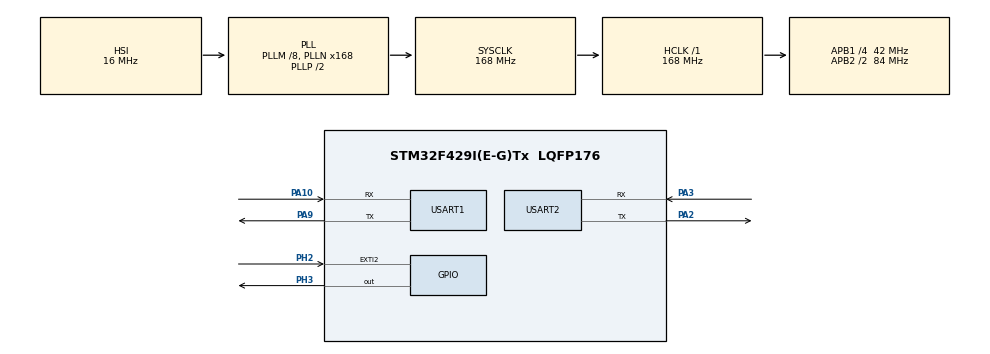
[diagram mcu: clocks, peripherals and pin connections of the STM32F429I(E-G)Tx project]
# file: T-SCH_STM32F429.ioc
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Dma.Request0=USART1_RX
Dma.Request1=USART1_TX
Dma.Request2=USART2_RX
Dma.Request3=USART2_TX
Dma.USART1_RX.0.Direction=DMA_PERIPH_TO_MEMORY
Dma.USART1_RX.0.FIFOMode=DMA_FIFOMODE_DISABLE
Dma.USART1_RX.0.Instance=DMA2_Stream2
Dma.USART1_RX.0.MemDataAlignment=DMA_MDATAALIGN_BYTE
Dma.USART1_RX.0.MemInc=DMA_MINC_ENABLE
Dma.USART1_RX.0.Mode=DMA_NORMAL
Dma.USART1_RX.0.PeriphDataAlignment=DMA_PDATAALIGN_BYTE
Dma.USART1_RX.0.PeriphInc=DMA_PINC_DISABLE
Dma.USART1_RX.0.Priority=DMA_PRIORITY_LOW
Dma.USART1_TX.1.Direction=DMA_MEMORY_TO_PERIPH
Dma.USART1_TX.1.FIFOMode=DMA_FIFOMODE_DISABLE
Dma.USART1_TX.1.Instance=DMA2_Stream7
Dma.USART1_TX.1.MemDataAlignment=DMA_MDATAALIGN_BYTE
Dma.USART1_TX.1.MemInc=DMA_MINC_ENABLE
Dma.USART1_TX.1.Mode=DMA_NORMAL
Dma.USART1_TX.1.PeriphDataAlignment=DMA_PDATAALIGN_BYTE
Dma.USART1_TX.1.PeriphInc=DMA_PINC_DISABLE
Dma.USART1_TX.1.Priority=DMA_PRIORITY_LOW
Dma.USART2_RX.2.Direction=DMA_PERIPH_TO_MEMORY
Dma.USART2_RX.2.FIFOMode=DMA_FIFOMODE_DISABLE
Dma.USART2_RX.2.Instance=DMA1_Stream5
Dma.USART2_RX.2.MemDataAlignment=DMA_MDATAALIGN_BYTE
Dma.USART2_RX.2.MemInc=DMA_MINC_ENABLE
Dma.USART2_RX.2.Mode=DMA_NORMAL
Dma.USART2_RX.2.PeriphDataAlignment=DMA_PDATAALIGN_BYTE
Dma.USART2_RX.2.PeriphInc=DMA_PINC_DISABLE
Dma.USART2_RX.2.Priority=DMA_PRIORITY_LOW
Dma.USART2_TX.3.Direction=DMA_MEMORY_TO_PERIPH
Dma.USART2_TX.3.FIFOMode=DMA_FIFOMODE_DISABLE
Dma.USART2_TX.3.Instance=DMA1_Stream6
Dma.USART2_TX.3.MemDataAlignment=DMA_MDATAALIGN_BYTE
Dma.USART2_TX.3.MemInc=DMA_MINC_ENABLE
Dma.USART2_TX.3.Mode=DMA_NORMAL
Dma.USART2_TX.3.PeriphDataAlignment=DMA_PDATAALIGN_BYTE
Dma.USART2_TX.3.PeriphInc=DMA_PINC_DISABLE
Dma.USART2_TX.3.Priority=DMA_PRIORITY_LOW
Mcu.Family=STM32F4
Mcu.Name=STM32F429I(E-G)Tx
Mcu.Package=LQFP176
NVIC.DMA1_Stream5_IRQn=true\:1\:0\:true\:false\:true\:false\:true
NVIC.DMA1_Stream6_IRQn=true\:1\:0\:true\:false\:true\:false\:true
NVIC.DMA2_Stream2_IRQn=true\:1\:0\:true\:false\:true\:false\:true
NVIC.DMA2_Stream7_IRQn=true\:1\:0\:true\:false\:true\:false\:true
NVIC.EXTI2_IRQn=true\:1\:0\:true\:false\:true\:true\:true
NVIC.PriorityGroup=NVIC_PRIORITYGROUP_4
NVIC.TIM1_TRG_COM_TIM11_IRQn=true\:14\:0\:true\:false\:true\:true\:true
NVIC.TIM6_DAC_IRQn=true\:10\:0\:true\:false\:true\:true\:true
NVIC.TIM7_IRQn=true\:11\:0\:true\:false\:true\:true\:true
NVIC.TIM8_UP_TIM13_IRQn=true\:1\:0\:true\:false\:true\:true\:true
NVIC.USART1_IRQn=true\:1\:0\:true\:false\:true\:true\:true
NVIC.USART2_IRQn=true\:11\:0\:true\:false\:true\:true\:true
PA10.Mode=Asynchronous
PA10.Signal=USART1_RX
PA13.Mode=Serial_Wire
PA13.Signal=SYS_JTMS-SWDIO
PA14.Mode=Serial_Wire
PA14.Signal=SYS_JTCK-SWCLK
PA2.Mode=Asynchronous
PA2.Signal=USART2_TX
PA3.Mode=Asynchronous
PA3.Signal=USART2_RX
PA9.Mode=Asynchronous
PA9.Signal=USART1_TX
PC14/OSC32_IN.Mode=LSE-External-Oscillator
PC14/OSC32_IN.Signal=RCC_OSC32_IN
PC15/OSC32_OUT.Mode=LSE-External-Oscillator
PC15/OSC32_OUT.Signal=RCC_OSC32_OUT
PH0/OSC_IN.Mode=HSE-External-Oscillator
PH0/OSC_IN.Signal=RCC_OSC_IN
PH1/OSC_OUT.Mode=HSE-External-Oscillator
PH1/OSC_OUT.Signal=RCC_OSC_OUT
PH2.GPIO_PuPd=GPIO_PULLDOWN
PH2.Signal=GPXTI2
PH3.Signal=GPIO_Output
ProjectManager.HeapSize=0x200
ProjectManager.StackSize=0x400
ProjectManager.TargetToolchain=MDK-ARM V5.32
RCC.48MHZClocksFreq_Value=84000000
RCC.AHBFreq_Value=168000000
RCC.APB1CLKDivider=RCC_HCLK_DIV4
RCC.APB1Freq_Value=42000000
RCC.APB1TimFreq_Value=84000000
RCC.APB2CLKDivider=RCC_HCLK_DIV2
RCC.APB2Freq_Value=84000000
RCC.APB2TimFreq_Value=168000000
RCC.CortexFreq_Value=168000000
RCC.HCLKFreq_Value=168000000
RCC.HSE_VALUE=25000000
RCC.HSI_VALUE=16000000
RCC.PLLM=8
RCC.PLLN=168
RCC.SYSCLKFreq_VALUE=168000000
RCC.SYSCLKSource=RCC_SYSCLKSOURCE_PLLCLK
RCC.VCOOutputFreq_Value=336000000
TIM11.Period=1000-1
TIM11.Prescaler=16800-1
TIM13.Period=1000
TIM13.Prescaler=16800
TIM6.Period=2000-1
TIM6.Prescaler=16800-1
TIM7.Period=2000-1
TIM7.Prescaler=16800-1
USART1.VirtualMode=VM_ASYNC
USART2.VirtualMode=VM_ASYNC
VP_TIM11_VS_ClockSourceINT.Mode=Enable_Timer
VP_TIM13_VS_ClockSourceINT.Mode=Enable_Timer
VP_TIM6_VS_ClockSourceINT.Mode=Enable_Timer
VP_TIM7_VS_ClockSourceINT.Mode=Enable_Timer
board=custom

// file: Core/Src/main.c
/* USER CODE BEGIN Header */
/**
  ******************************************************************************
  * @file           : main.c
  * @brief          : Main program body
  ******************************************************************************
  * @attention
  *
  * Copyright (c) 2022 STMicroelectronics.
  * All rights reserved.
  *
  * This software is licensed under terms that can be found in the LICENSE file
  * in the root directory of this software component.
  * If no LICENSE file comes with this software, it is provided AS-IS.
  *
  ******************************************************************************
  */
/* USER CODE END Header */
#include "main.h"
#include "dma.h"
#include "tim.h"
#include "usart.h"
#include "gpio.h"

/* USER CODE BEGIN Includes */
#include "tsch_port.h"
#include "turtle_task.h"
/* USER CODE END Includes */

/* USER CODE BEGIN PD */
#define  HIGH_MSG_LEN   100u
#define  LOW_MSG_LEN    100u
/* USER CODE END PD */

/* USER CODE BEGIN PV */
TScheduler_Type   Tim6_Sch;
TSchTask_Type     EH_Tim6Task1;
TSchTList_Type    Tim6_List[USR_SCH_LIST_MAX];

TScheduler_Type   Tim7_Sch;
TSchTask_Type     H_Tim7Task1;
TSchTask_Type     H_Tim7Task2;
TSchTask_Type     M_Tim7Task3;
TSchTask_Type     M_Tim7Task4;
TSchTList_Type    Tim7_List[USR_SCH_LIST_MAX];

TScheduler_Type   Tim11_Sch;
TSchTask_Type     EL_Tim11Task1;

TScheduler_Type   Uart_Sch;
TSchTask_Type     H_UartTask;

TScheduler_Type   Msg_Sch;
TSchTask_Type     H_MsgTask1;
TSchMsg_Type      High_Msg;
TSchMsgEle_Type   High_MsgBuf[HIGH_MSG_LEN];
TSchTask_Type     L_MsgTask2;
TSchMsg_Type      Low_Msg;
TSchMsgEle_Type   Low_MsgBuf[LOW_MSG_LEN];

TScheduler_Type   Syn_Sch;
TSchTask_Type     EH_SynTask;

uint8_t           uart_test[1];

/* USER CODE END PV */

void SystemClock_Config(void);

/* USER CODE BEGIN 0 */

void Creat_Task(void)
{
  TSch_SchCreat(&Tim6_Sch, TIM_SCH, Tim6_List);
  TSch_TaskCreat(&Tim6_Sch, &EH_Tim6Task1, Tim6Task1_Func, 50, 10, MSG_NULL, NULL);

  TSch_SchCreat(&Tim7_Sch, TIM_SCH, Tim7_List);
  TSch_TaskCreat(&Tim7_Sch, &H_Tim7Task1, Tim7Task1_Func, 100, 11, MSG_NULL, NULL);
  TSch_TaskCreat(&Tim7_Sch, &H_Tim7Task2, Tim7Task2_Func, 200, 11, MSG_NULL, NULL);
  TSch_TaskCreat(&Tim7_Sch, &M_Tim7Task3, Tim7Task3_Func, 100, 12, MSG_NULL, NULL);
  TSch_TaskCreat(&Tim7_Sch, &M_Tim7Task4, Tim7Task4_Func, 200, 12, MSG_NULL, NULL);

  TSch_SchCreat(&Tim11_Sch, ADT_TIM_SCH, NULL);
  TSch_TaskCreat(&Tim11_Sch, &EL_Tim11Task1, Tim11Task1_Func, 1000, 14, MSG_NULL, NULL);

  TSch_SchCreat(&Uart_Sch, EXT_SCH, NULL);
  TSch_TaskCreat(&Uart_Sch, &H_UartTask, UartTask_Func, 0, 11, MSG_NULL, NULL);

  TSch_MsgCreat(&High_Msg, MSG_STACK, High_MsgBuf, HIGH_MSG_LEN);
  TSch_MsgCreat(&Low_Msg, MSG_QUEUE, Low_MsgBuf, LOW_MSG_LEN);
  TSch_SchCreat(&Msg_Sch, MSG_SCH, NULL);
  TSch_TaskCreat(&Msg_Sch, &H_MsgTask1, MsgTask1_Func, 0, 11, &High_Msg, MsgTask_Weak);
  TSch_TaskCreat(&Msg_Sch, &L_MsgTask2, MsgTask2_Func, 0, 13, &Low_Msg, MsgTask_Weak);

  TSch_SchCreat(&Syn_Sch, SYN_SCH, NULL);
  TSch_TaskCreat(&Syn_Sch, &EH_SynTask, SynTask_Func, 0, 10, NULL, SynTask_Weak);
}

/* USER CODE END 0 */

int main(void)
{

  /* MCU Configuration--------------------------------------------------------*/

  /* Reset of all peripherals, Initializes the Flash interface and the Systick. */
  HAL_Init();

  /* Configure the system clock */
  SystemClock_Config();

  /* USER CODE BEGIN SysInit */
  SoftExti_WeakInit();
  /* USER CODE END SysInit */

  /* Initialize all configured peripherals */
  MX_GPIO_Init();
  MX_DMA_Init();
  MX_TIM6_Init();
  MX_TIM7_Init();
  MX_TIM11_Init();
  MX_USART1_UART_Init();
  MX_TIM13_Init();
  MX_USART2_UART_Init();
  /* USER CODE BEGIN 2 */
  EventRecorderInitialize(EventRecordAll, 1U);
  EventRecorderStart();
  Creat_Task();
  HAL_TIM_Base_Start_IT(&htim6);
  HAL_TIM_Base_Start_IT(&htim7);
  HAL_TIM_Base_Start_IT(&htim11);
  HAL_TIM_Base_Start_IT(&htim13);
  HAL_UART_Receive_DMA(&huart2, uart_test, 1);
	TSch_Start();
  /* USER CODE END 2 */

  /* Infinite loop */
  while (1)
  {

  }
}

void SystemClock_Config(void)
{
  RCC_OscInitTypeDef RCC_OscInitStruct = {0};
  RCC_ClkInitTypeDef RCC_ClkInitStruct = {0};

  /** Configure the main internal regulator output voltage
  */
  __HAL_RCC_PWR_CLK_ENABLE();
  __HAL_PWR_VOLTAGESCALING_CONFIG(PWR_REGULATOR_VOLTAGE_SCALE1);
  /** Initializes the RCC Oscillators according to the specified parameters
  * in the RCC_OscInitTypeDef structure.
  */
  RCC_OscInitStruct.OscillatorType = RCC_OSCILLATORTYPE_HSI;
  RCC_OscInitStruct.HSIState = RCC_HSI_ON;
  RCC_OscInitStruct.HSICalibrationValue = RCC_HSICALIBRATION_DEFAULT;
  RCC_OscInitStruct.PLL.PLLState = RCC_PLL_ON;
  RCC_OscInitStruct.PLL.PLLSource = RCC_PLLSOURCE_HSI;
  RCC_OscInitStruct.PLL.PLLM = 8;
  RCC_OscInitStruct.PLL.PLLN = 168;
  RCC_OscInitStruct.PLL.PLLP = RCC_PLLP_DIV2;
  RCC_OscInitStruct.PLL.PLLQ = 4;
  if (HAL_RCC_OscConfig(&RCC_OscInitStruct) != HAL_OK)
  {
    Error_Handler();
  }
  /** Initializes the CPU, AHB and APB buses clocks
  */
  RCC_ClkInitStruct.ClockType = RCC_CLOCKTYPE_HCLK|RCC_CLOCKTYPE_SYSCLK
                              |RCC_CLOCKTYPE_PCLK1|RCC_CLOCKTYPE_PCLK2;
  RCC_ClkInitStruct.SYSCLKSource = RCC_SYSCLKSOURCE_PLLCLK;
  RCC_ClkInitStruct.AHBCLKDivider = RCC_SYSCLK_DIV1;
  RCC_ClkInitStruct.APB1CLKDivider = RCC_HCLK_DIV4;
  RCC_ClkInitStruct.APB2CLKDivider = RCC_HCLK_DIV2;

  if (HAL_RCC_ClockConfig(&RCC_ClkInitStruct, FLASH_LATENCY_5) != HAL_OK)
  {
    Error_Handler();
  }
}

void Error_Handler(void)
{
  __disable_irq();
  while (1)
  {
  }
}
